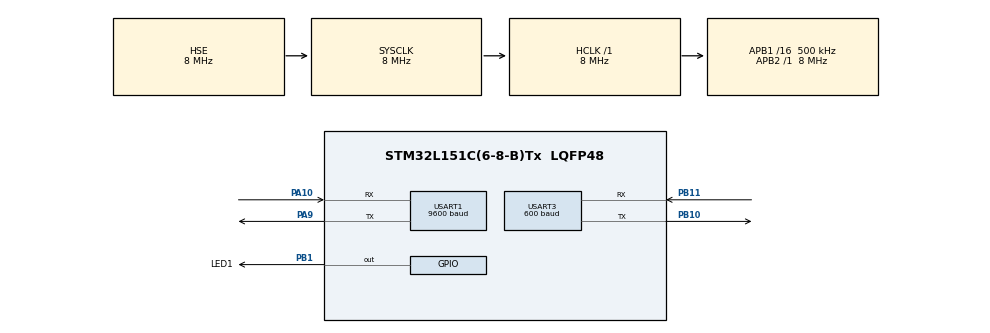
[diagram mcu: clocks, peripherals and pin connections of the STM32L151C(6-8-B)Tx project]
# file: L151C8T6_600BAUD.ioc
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Dma.Request0=USART1_RX
Dma.Request1=USART3_RX
Dma.USART1_RX.0.Direction=DMA_PERIPH_TO_MEMORY
Dma.USART1_RX.0.Instance=DMA1_Channel5
Dma.USART1_RX.0.MemDataAlignment=DMA_MDATAALIGN_BYTE
Dma.USART1_RX.0.MemInc=DMA_MINC_ENABLE
Dma.USART1_RX.0.Mode=DMA_CIRCULAR
Dma.USART1_RX.0.PeriphDataAlignment=DMA_PDATAALIGN_BYTE
Dma.USART1_RX.0.PeriphInc=DMA_PINC_DISABLE
Dma.USART1_RX.0.Priority=DMA_PRIORITY_LOW
Dma.USART3_RX.1.Direction=DMA_PERIPH_TO_MEMORY
Dma.USART3_RX.1.Instance=DMA1_Channel3
Dma.USART3_RX.1.MemDataAlignment=DMA_MDATAALIGN_HALFWORD
Dma.USART3_RX.1.MemInc=DMA_MINC_ENABLE
Dma.USART3_RX.1.Mode=DMA_CIRCULAR
Dma.USART3_RX.1.PeriphDataAlignment=DMA_PDATAALIGN_HALFWORD
Dma.USART3_RX.1.PeriphInc=DMA_PINC_DISABLE
Dma.USART3_RX.1.Priority=DMA_PRIORITY_LOW
FREERTOS.Queues01=recvQueue,8,uint16_t,NULL
FREERTOS.Tasks01=defaultTask,0,64,StartDefaultTask,Default;recvTask,0,64,StartRecvTask,Default;sendTask,0,64,StartSendTask,Default
FREERTOS.configMAX_TASK_NAME_LEN=12
FREERTOS.configMINIMAL_STACK_SIZE=64
FREERTOS.configTICK_RATE_HZ=100
FREERTOS.configTIMER_TASK_STACK_DEPTH=64
FREERTOS.configTOTAL_HEAP_SIZE=3072
FREERTOS.configUSE_PORT_OPTIMISED_TASK_SELECTION=1
FREERTOS.configUSE_PREEMPTION=0
FREERTOS.configUSE_TICKLESS_IDLE=1
FREERTOS.configUSE_TIMERS=1
FREERTOS.configUSE_TRACE_FACILITY=0
Mcu.Family=STM32L1
Mcu.Name=STM32L151C(6-8-B)Tx
Mcu.Package=LQFP48
NVIC.DMA1_Channel3_IRQn=true\:5\:0\:false\:false\:true\:true
NVIC.DMA1_Channel5_IRQn=true\:5\:0\:false\:false\:true\:true
NVIC.FLASH_IRQn=true\:5\:0\:false\:false\:true\:true
NVIC.PriorityGroup=NVIC_PRIORITYGROUP_4
NVIC.RCC_IRQn=true\:5\:0\:false\:false\:true\:true
NVIC.TIM6_IRQn=true\:0\:0\:false\:false\:true\:false
NVIC.TIM7_IRQn=true\:5\:0\:false\:false\:true\:true
NVIC.TimeBase=TIM6_IRQn
NVIC.TimeBaseIP=TIM6
NVIC.USART1_IRQn=true\:5\:0\:false\:false\:true\:true
NVIC.USART3_IRQn=true\:5\:0\:false\:false\:true\:true
PA10.Mode=Asynchronous
PA10.Signal=USART1_RX
PA9.Mode=Asynchronous
PA9.Signal=USART1_TX
PB1.GPIO_Label=LED1
PB1.Signal=GPIO_Output
PB10.Mode=Asynchronous
PB10.Signal=USART3_TX
PB11.Mode=Asynchronous
PB11.Signal=USART3_RX
PC14-OSC32_IN.Mode=LSE-External-Oscillator
PC14-OSC32_IN.Signal=RCC_OSC32_IN
PC15-OSC32_OUT.Mode=LSE-External-Oscillator
PC15-OSC32_OUT.Signal=RCC_OSC32_OUT
PH0-OSC_IN.Mode=HSE-External-Oscillator
PH0-OSC_IN.Signal=RCC_OSC_IN
PH1-OSC_OUT.Mode=HSE-External-Oscillator
PH1-OSC_OUT.Signal=RCC_OSC_OUT
ProjectManager.HeapSize=0x400
ProjectManager.StackSize=0x400
ProjectManager.TargetToolchain=MDK-ARM V5
RCC.AHBFreq_Value=8000000
RCC.APB1CLKDivider=RCC_HCLK_DIV16
RCC.APB1Freq_Value=500000
RCC.APB1TimFreq_Value=1000000
RCC.APB2Freq_Value=8000000
RCC.APB2TimFreq_Value=8000000
RCC.HCLKFreq_Value=8000000
RCC.HSE_VALUE=8000000
RCC.HSI_VALUE=16000000
RCC.MSIClockRange=RCC_MSIRANGE_6
RCC.MSI_VALUE=4194000
RCC.PLLSourceVirtual=RCC_PLLSOURCE_HSE
RCC.SYSCLKFreq_VALUE=8000000
RCC.SYSCLKSource=RCC_SYSCLKSOURCE_HSE
RCC.USBOutput=12000000
RCC.VCOOutputFreq_Value=24000000
USART1.BaudRate=9600
USART1.Parity=UART_PARITY_NONE
USART1.WordLength=UART_WORDLENGTH_8B
USART3.BaudRate=600
USART3.WordLength=UART_WORDLENGTH_9B
VP_FREERTOS_VS_ENABLE.Mode=Enabled
VP_SYS_VS_tim6.Mode=TIM6
VP_TIM7_VS_ClockSourceINT.Mode=Enable_Timer
board=L151C8T6_600BAUD

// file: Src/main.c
/**
******************************************************************************
* File Name          : main.c
* Description        : Main program body
******************************************************************************
*
* Copyright (c) 2016 STMicroelectronics International N.V.
* All rights reserved.
*
* Redistribution and use in source and binary forms, with or without
* modification, are permitted, provided that the following conditions are met:
*
* 1. Redistribution of source code must retain the above copyright notice,
*    this list of conditions and the following disclaimer.
* 2. Redistributions in binary form must reproduce the above copyright notice,
*    this list of conditions and the following disclaimer in the documentation
*    and/or other materials provided with the distribution.
* 3. Neither the name of STMicroelectronics nor the names of other
*    contributors to this software may be used to endorse or promote products
*    derived from this software without specific written permission.
* 4. This software, including modifications and/or derivative works of this
*    software, must execute solely and exclusively on microcontroller or
*    microprocessor devices manufactured by or for STMicroelectronics.
* 5. Redistribution and use of this software other than as permitted under
*    this license is void and will automatically terminate your rights under
*    this license.
*
* THIS SOFTWARE IS PROVIDED BY STMICROELECTRONICS AND CONTRIBUTORS "AS IS"
* AND ANY EXPRESS, IMPLIED OR STATUTORY WARRANTIES, INCLUDING, BUT NOT
* LIMITED TO, THE IMPLIED WARRANTIES OF MERCHANTABILITY, FITNESS FOR A
* PARTICULAR PURPOSE AND NON-INFRINGEMENT OF THIRD PARTY INTELLECTUAL PROPERTY
* RIGHTS ARE DISCLAIMED TO THE FULLEST EXTENT PERMITTED BY LAW. IN NO EVENT
* SHALL STMICROELECTRONICS OR CONTRIBUTORS BE LIABLE FOR ANY DIRECT, INDIRECT,
* INCIDENTAL, SPECIAL, EXEMPLARY, OR CONSEQUENTIAL DAMAGES (INCLUDING, BUT NOT
* LIMITED TO, PROCUREMENT OF SUBSTITUTE GOODS OR SERVICES; LOSS OF USE, DATA,
* OR PROFITS; OR BUSINESS INTERRUPTION) HOWEVER CAUSED AND ON ANY THEORY OF
* LIABILITY, WHETHER IN CONTRACT, STRICT LIABILITY, OR TORT (INCLUDING
* NEGLIGENCE OR OTHERWISE) ARISING IN ANY WAY OUT OF THE USE OF THIS SOFTWARE,
* EVEN IF ADVISED OF THE POSSIBILITY OF SUCH DAMAGE.
*
******************************************************************************
*/
#include "main.h"
#include "stm32l1xx_hal.h"
#include "cmsis_os.h"

/* USER CODE BEGIN Includes */
#include "string.h"
/* USER CODE END Includes */

TIM_HandleTypeDef htim7;

UART_HandleTypeDef huart1;
UART_HandleTypeDef huart3;
DMA_HandleTypeDef hdma_usart1_rx;
DMA_HandleTypeDef hdma_usart3_rx;

osThreadId defaultTaskHandle;
osThreadId recvTaskHandle;
osThreadId sendTaskHandle;
osMessageQId recvQueueHandle;

/* USER CODE BEGIN PV */
#define SI_DMA_BUFSZ 32
typedef  enum _Uart_Reason
{ Uart1_Reason_TxCplt,Uart2_Reason_TxCplt, Uart_Reason_RxCplt, Uart_Reason_TxHalfCplt,
Uart_Reason_RxHalfCplt,Uart1_Reason_Error, Uart2_Reason_Error }
Uart_Reason;
typedef  enum _cmd_recv_state
{
	CMD0,CMD1,CMD2,CMD3,CMD4,CMD5
}cmd_recv_state;
/* Private variables ---------------------------------------------------------*/
typedef struct  _global_info
{
	uint32_t cycles;
	uint8_t  status;
	uint8_t  recvCode;
	uint8_t  errorCount;
	GPIO_PinState led1State;
	uint8_t  uart3dma_cndtr_handled;
	uint16_t uart3recvbuff[SI_DMA_BUFSZ] ;
	uint32_t uart3ReadTaskCount;
	uint8_t  errRecvCnt[4];
	uint8_t  uart3errCountLast;
	uint8_t  uart3errCount;
	uint8_t  uart3recvCpltCount;
	uint8_t  uart3recvHalfCpltCount;
	uint32_t recvDatCount;
	int32_t  weight;
	int32_t  w2;
	uint8_t  dat[4];
}global_info;
global_info g_info;
/* USER CODE END PV */

void SystemClock_Config(void);
void Error_Handler(void);
static void MX_GPIO_Init(void);
static void MX_DMA_Init(void);
static void MX_USART3_UART_Init(void);
static void MX_USART1_UART_Init(void);
static void MX_TIM7_Init(void);
void StartDefaultTask(void const * argument);
void StartRecvTask(void const * argument);
void StartSendTask(void const * argument);

/* USER CODE BEGIN PFP */
/* Private function prototypes -----------------------------------------------*/

/* USER CODE END PFP */

/* USER CODE BEGIN 0 */
void processword(uint16_t word)
{
 uint16_t bit9=(word>>8)&1;
	uint16_t byte=word&0xff;

	g_info.dat[2]=g_info.dat[1];
	g_info.dat[1]=g_info.dat[0];
	g_info.dat[0]=byte;

	switch (g_info.recvCode)
	{
	case CMD0:
		if(bit9==0)
		{
			g_info.recvCode=CMD1;
		} else {
			g_info.errRecvCnt[0]++;
		}
		break;
	case CMD1:
		if(bit9==0)
		{
			g_info.recvCode=CMD2;
		} else {
			g_info.errRecvCnt[1]++;
		}
		break;
	case CMD2:
		if(bit9==1)
		{
			int32_t w2=g_info.dat[0]+((uint32_t)g_info.dat[1]<<8)+(((int32_t)(g_info.dat[2]>>6)&0x3)<<16);
			if((g_info.dat[2]>>3)==1)
			{
				w2=-w2;
			}
			if(g_info.w2+1!=w2)
			{
				g_info.errorCount++;
				g_info.errRecvCnt[3]++;
			}
			g_info.w2=w2;
			g_info.recvDatCount++;
		} else {
			g_info.errRecvCnt[2]++;
		}
		g_info.recvCode=CMD0;
		break;
	}

}
void OnRecvCmd(const uint16_t* first, const uint16_t* last)
{
	while (first < last) {
		processword(*first);
		first++;
	}
}

//------------------------------------------------------------------------------
//{ UART Callbacks
//------------------------------------------------------------------------------
void HAL_UART_TxCpltCallback(UART_HandleTypeDef *huart)
{
	if(huart==&huart1)//
	{
		//g_info.uart1sentCount++;
		//uint32_t info=Uart1_Reason_TxCplt;
		//osMessagePut(g_info.m_uartTxCpltmsgQ,info,0);
	}
}

//------------------------------------------------------------------------------
void HAL_UART_TxHalfCpltCallback(UART_HandleTypeDef *huart)
{
	if(huart==&huart1)//
	{
		//g_info.uart1sentCount++;
	}
}

//------------------------------------------------------------------------------
void HAL_UART_RxCpltCallback(UART_HandleTypeDef *huart)
{
	if(huart==&huart3)//
	{
		uint32_t info=Uart_Reason_RxCplt;
		g_info.uart3recvCpltCount++;
		osMessagePut(recvQueueHandle,info,0);
	}
}

//------------------------------------------------------------------------------
void HAL_UART_RxHalfCpltCallback(UART_HandleTypeDef *huart)
{
	if(huart==&huart3)//
	{
		uint32_t info=Uart_Reason_RxHalfCplt;
		osMessagePut(recvQueueHandle,info,0);
		g_info.uart3recvHalfCpltCount++;
	}
}

//------------------------------------------------------------------------------
void HAL_UART_ErrorCallback(UART_HandleTypeDef *huart)
{
	if(huart==&huart3)//
	{
		//uint32_t info=Uart1_Reason_Error;
		g_info.uart3errCount++;
	}
}
/* USER CODE END 0 */

int main(void)
{

	/* MCU Configuration----------------------------------------------------------*/

	/* Reset of all peripherals, Initializes the Flash interface and the Systick. */
	HAL_Init();

	/* Configure the system clock */
	SystemClock_Config();

	/* Initialize all configured peripherals */
	MX_GPIO_Init();
	MX_DMA_Init();
	MX_USART3_UART_Init();
	MX_USART1_UART_Init();
	MX_TIM7_Init();

	/* USER CODE BEGIN 2 */
	memset(&g_info,0,sizeof(global_info));
	/* USER CODE END 2 */

	/* Create the thread(s) */
	/* definition and creation of defaultTask */
	osThreadDef(defaultTask, StartDefaultTask, osPriorityNormal, 0, 64);
	defaultTaskHandle = osThreadCreate(osThread(defaultTask), NULL);

	/* definition and creation of recvTask */
	osThreadDef(recvTask, StartRecvTask, osPriorityNormal, 0, 64);
	recvTaskHandle = osThreadCreate(osThread(recvTask), NULL);

	/* definition and creation of sendTask */
	osThreadDef(sendTask, StartSendTask, osPriorityNormal, 0, 64);
	sendTaskHandle = osThreadCreate(osThread(sendTask), NULL);

	/* Create the queue(s) */
	/* definition and creation of recvQueue */
	osMessageQDef(recvQueue, 8, uint16_t);
	recvQueueHandle = osMessageCreate(osMessageQ(recvQueue), NULL);

	/* Start scheduler */
	osKernelStart();

	/* We should never get here as control is now taken by the scheduler */

	/* Infinite loop */
	while (1)
	{

	}

}

/** System Clock Configuration
*/
void SystemClock_Config(void)
{

	RCC_OscInitTypeDef RCC_OscInitStruct;
	RCC_ClkInitTypeDef RCC_ClkInitStruct;

	/**Configure the main internal regulator output voltage
	*/
	__HAL_PWR_VOLTAGESCALING_CONFIG(PWR_REGULATOR_VOLTAGE_SCALE1);

	/**Initializes the CPU, AHB and APB busses clocks
	*/
	RCC_OscInitStruct.OscillatorType = RCC_OSCILLATORTYPE_HSE;
	RCC_OscInitStruct.HSEState = RCC_HSE_ON;
	RCC_OscInitStruct.PLL.PLLState = RCC_PLL_NONE;
	if (HAL_RCC_OscConfig(&RCC_OscInitStruct) != HAL_OK)
	{
		Error_Handler();
	}

	/**Initializes the CPU, AHB and APB busses clocks
	*/
	RCC_ClkInitStruct.ClockType = RCC_CLOCKTYPE_HCLK|RCC_CLOCKTYPE_SYSCLK
		|RCC_CLOCKTYPE_PCLK1|RCC_CLOCKTYPE_PCLK2;
	RCC_ClkInitStruct.SYSCLKSource = RCC_SYSCLKSOURCE_HSE;
	RCC_ClkInitStruct.AHBCLKDivider = RCC_SYSCLK_DIV1;
	RCC_ClkInitStruct.APB1CLKDivider = RCC_HCLK_DIV16;
	RCC_ClkInitStruct.APB2CLKDivider = RCC_HCLK_DIV1;

	if (HAL_RCC_ClockConfig(&RCC_ClkInitStruct, FLASH_LATENCY_0) != HAL_OK)
	{
		Error_Handler();
	}

	/**Configure the Systick interrupt time
	*/
	HAL_SYSTICK_Config(HAL_RCC_GetHCLKFreq()/1000);

	/**Configure the Systick
	*/
	HAL_SYSTICK_CLKSourceConfig(SYSTICK_CLKSOURCE_HCLK);

	/* SysTick_IRQn interrupt configuration */
	HAL_NVIC_SetPriority(SysTick_IRQn, 15, 0);
}

/* TIM7 init function */
static void MX_TIM7_Init(void)
{

	TIM_MasterConfigTypeDef sMasterConfig;

	htim7.Instance = TIM7;
	htim7.Init.Prescaler = 0;
	htim7.Init.CounterMode = TIM_COUNTERMODE_UP;
	htim7.Init.Period = 0;
	if (HAL_TIM_Base_Init(&htim7) != HAL_OK)
	{
		Error_Handler();
	}

	sMasterConfig.MasterOutputTrigger = TIM_TRGO_RESET;
	sMasterConfig.MasterSlaveMode = TIM_MASTERSLAVEMODE_DISABLE;
	if (HAL_TIMEx_MasterConfigSynchronization(&htim7, &sMasterConfig) != HAL_OK)
	{
		Error_Handler();
	}

}

/* USART1 init function */
static void MX_USART1_UART_Init(void)
{

	huart1.Instance = USART1;
	huart1.Init.BaudRate = 9600;
	huart1.Init.WordLength = UART_WORDLENGTH_8B;
	huart1.Init.StopBits = UART_STOPBITS_1;
	huart1.Init.Parity = UART_PARITY_NONE;
	huart1.Init.Mode = UART_MODE_TX_RX;
	huart1.Init.HwFlowCtl = UART_HWCONTROL_NONE;
	huart1.Init.OverSampling = UART_OVERSAMPLING_16;
	if (HAL_UART_Init(&huart1) != HAL_OK)
	{
		Error_Handler();
	}

}

/* USART3 init function */
static void MX_USART3_UART_Init(void)
{

	huart3.Instance = USART3;
	huart3.Init.BaudRate = 600;
	huart3.Init.WordLength = UART_WORDLENGTH_9B;
	huart3.Init.StopBits = UART_STOPBITS_1;
	huart3.Init.Parity = UART_PARITY_NONE;
	huart3.Init.Mode = UART_MODE_TX_RX;
	huart3.Init.HwFlowCtl = UART_HWCONTROL_NONE;
	huart3.Init.OverSampling = UART_OVERSAMPLING_16;
	if (HAL_UART_Init(&huart3) != HAL_OK)
	{
		Error_Handler();
	}

}

static void MX_DMA_Init(void)
{
	/* DMA controller clock enable */
	__HAL_RCC_DMA1_CLK_ENABLE();

	/* DMA interrupt init */
	/* DMA1_Channel3_IRQn interrupt configuration */
	HAL_NVIC_SetPriority(DMA1_Channel3_IRQn, 5, 0);
	HAL_NVIC_EnableIRQ(DMA1_Channel3_IRQn);
	/* DMA1_Channel5_IRQn interrupt configuration */
	HAL_NVIC_SetPriority(DMA1_Channel5_IRQn, 5, 0);
	HAL_NVIC_EnableIRQ(DMA1_Channel5_IRQn);

}

/** Configure pins as
* Analog
* Input
* Output
* EVENT_OUT
* EXTI
*/
static void MX_GPIO_Init(void)
{

	GPIO_InitTypeDef GPIO_InitStruct;

	/* GPIO Ports Clock Enable */
	__HAL_RCC_GPIOC_CLK_ENABLE();
	__HAL_RCC_GPIOH_CLK_ENABLE();
	__HAL_RCC_GPIOB_CLK_ENABLE();
	__HAL_RCC_GPIOA_CLK_ENABLE();

	/*Configure GPIO pin Output Level */
	HAL_GPIO_WritePin(LED1_GPIO_Port, LED1_Pin, GPIO_PIN_RESET);

	/*Configure GPIO pin : LED1_Pin */
	GPIO_InitStruct.Pin = LED1_Pin;
	GPIO_InitStruct.Mode = GPIO_MODE_OUTPUT_PP;
	GPIO_InitStruct.Pull = GPIO_NOPULL;
	GPIO_InitStruct.Speed = GPIO_SPEED_FREQ_LOW;
	HAL_GPIO_Init(LED1_GPIO_Port, &GPIO_InitStruct);

}

/* StartDefaultTask function */
void StartDefaultTask(void const * argument)
{

	/* USER CODE BEGIN 5 */
	/* Infinite loop */
	for(;;)
	{

		g_info.cycles++;
		if(g_info.led1State==GPIO_PIN_RESET)
		{
			g_info.led1State=GPIO_PIN_SET;
			HAL_GPIO_WritePin(LED1_GPIO_Port, LED1_Pin, g_info.led1State);
		} else
			if((g_info.cycles%20)==0)
			{
				g_info.led1State=GPIO_PIN_RESET;
				HAL_GPIO_WritePin(LED1_GPIO_Port, LED1_Pin, g_info.led1State);
				g_info.weight++;
				if(g_info.weight>1000)
				{
					g_info.weight=-1000;
				}
			}
			if((g_info.cycles%20)==0)
			{
				uint16_t dat[3];
				int32_t w=g_info.weight;
				if(w<0)
				{
					w=-w;
				}
				dat[2]=(w&0xff)|0x100;
				dat[1]=(w>>8)&0xff;
				dat[0]=((w>>16)&0x3)<<6;
				if(g_info.weight<0)
					dat[0]|=0x8;
				dat[0]|=1;

				HAL_UART_Transmit(&huart3,(uint8_t*)dat,3,1000);
			}
			osDelay(50);
	}
	/* USER CODE END 5 */
}

/* StartRecvTask function */
void StartRecvTask(void const * argument)
{
	/* USER CODE BEGIN StartRecvTask */
	/* Infinite loop */
	g_info.uart3dma_cndtr_handled = SI_DMA_BUFSZ; // Note: CNDTR counts backwards starting from BUFSZ

	HAL_UART_Receive_DMA(&huart3,(uint8_t*)g_info.uart3recvbuff, SI_DMA_BUFSZ);

	for(;;)
	{
		osEvent event=osMessageGet(recvQueueHandle,100);
		if ((event.status == osEventTimeout) ||(event.status == osOK) ||( event.status == osEventMessage))
		{

			uint32_t cndtr = huart3.hdmarx->Instance->CNDTR;
			if (cndtr == g_info.uart3dma_cndtr_handled)
			{
				osThreadYield();
				continue;
			}
			g_info.uart3ReadTaskCount++;
			if(g_info.uart3errCountLast!=g_info.uart3errCount)
			{
				g_info.uart3errCountLast=g_info.uart3errCount;
			}
			uint16_t* begin = &g_info.uart3recvbuff[SI_DMA_BUFSZ - g_info.uart3dma_cndtr_handled];
			uint16_t* end   = &g_info.uart3recvbuff[SI_DMA_BUFSZ - cndtr];

			if (end > begin) {
				OnRecvCmd(begin,end);
			}
			else {
				OnRecvCmd(begin,&g_info.uart3recvbuff[SI_DMA_BUFSZ]);
				OnRecvCmd(g_info.uart3recvbuff,end);
			}
			g_info.uart3dma_cndtr_handled = cndtr;
		}
	}
	/* USER CODE END StartRecvTask */
}

/* StartSendTask function */
void StartSendTask(void const * argument)
{
	/* USER CODE BEGIN StartSendTask */
	/* Infinite loop */
	for(;;)
	{
		osDelay(100);
	}
	/* USER CODE END StartSendTask */
}

void HAL_TIM_PeriodElapsedCallback(TIM_HandleTypeDef *htim)
{
	if (htim->Instance == TIM6) {
		HAL_IncTick();
	}
}

void Error_Handler(void)
{
	while(1)
	{
	}
}

/************************ (C) COPYRIGHT STMicroelectronics *****END OF FILE****/
